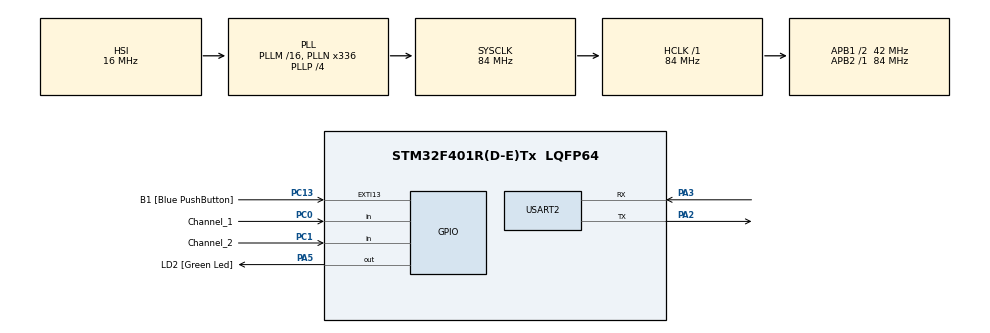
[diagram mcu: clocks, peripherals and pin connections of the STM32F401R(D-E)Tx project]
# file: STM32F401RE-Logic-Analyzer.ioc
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Dma.Request0=USART2_TX
Dma.USART2_TX.0.Direction=DMA_MEMORY_TO_PERIPH
Dma.USART2_TX.0.FIFOMode=DMA_FIFOMODE_DISABLE
Dma.USART2_TX.0.Instance=DMA1_Stream6
Dma.USART2_TX.0.MemDataAlignment=DMA_MDATAALIGN_BYTE
Dma.USART2_TX.0.MemInc=DMA_MINC_ENABLE
Dma.USART2_TX.0.Mode=DMA_NORMAL
Dma.USART2_TX.0.PeriphDataAlignment=DMA_PDATAALIGN_BYTE
Dma.USART2_TX.0.PeriphInc=DMA_PINC_DISABLE
Dma.USART2_TX.0.Priority=DMA_PRIORITY_LOW
Mcu.Family=STM32F4
Mcu.Name=STM32F401R(D-E)Tx
Mcu.Package=LQFP64
NVIC.DMA1_Stream6_IRQn=true\:0\:0\:false\:false\:true\:false\:true\:true
NVIC.PriorityGroup=NVIC_PRIORITYGROUP_4
NVIC.USART2_IRQn=true\:0\:0\:false\:false\:true\:true\:true\:true
PA13.GPIO_Label=TMS
PA13.Mode=Trace_Asynchronous_SW
PA13.Signal=SYS_JTMS-SWDIO
PA14.GPIO_Label=TCK
PA14.Mode=Trace_Asynchronous_SW
PA14.Signal=SYS_JTCK-SWCLK
PA2.Mode=Asynchronous
PA2.Signal=USART2_TX
PA3.Mode=Asynchronous
PA3.Signal=USART2_RX
PA5.GPIO_Label=LD2 [Green Led]
PA5.GPIO_Mode=GPIO_MODE_OUTPUT_PP
PA5.GPIO_PuPd=GPIO_NOPULL
PA5.GPIO_Speed=GPIO_SPEED_FREQ_LOW
PA5.Signal=GPIO_Output
PB3.GPIO_Label=SWO
PB3.Mode=Trace_Asynchronous_SW
PB3.Signal=SYS_JTDO-SWO
PC0.GPIO_Label=Channel_1
PC0.GPIO_PuPd=GPIO_PULLDOWN
PC0.Signal=GPIO_Input
PC1.GPIO_Label=Channel_2
PC1.GPIO_PuPd=GPIO_PULLDOWN
PC1.Signal=GPIO_Input
PC13-ANTI_TAMP.GPIO_Label=B1 [Blue PushButton]
PC13-ANTI_TAMP.GPIO_ModeDefaultEXTI=GPIO_MODE_IT_FALLING
PC13-ANTI_TAMP.GPIO_PuPd=GPIO_NOPULL
PC13-ANTI_TAMP.Signal=GPXTI13
PC14-OSC32_IN.Mode=LSE-External-Oscillator
PC14-OSC32_IN.Signal=RCC_OSC32_IN
PC15-OSC32_OUT.Mode=LSE-External-Oscillator
PC15-OSC32_OUT.Signal=RCC_OSC32_OUT
PH0\ -\ OSC_IN.Mode=HSE-External-Clock-Source
PH0\ -\ OSC_IN.Signal=RCC_OSC_IN
PH1\ -\ OSC_OUT.Mode=HSE-External-Clock-Source
PH1\ -\ OSC_OUT.Signal=RCC_OSC_OUT
ProjectManager.HeapSize=0x200
ProjectManager.StackSize=0x400
ProjectManager.TargetToolchain=STM32CubeIDE
RCC.48MHZClocksFreq_Value=48000000
RCC.AHBFreq_Value=84000000
RCC.APB1CLKDivider=RCC_HCLK_DIV2
RCC.APB1Freq_Value=42000000
RCC.APB1TimFreq_Value=84000000
RCC.APB2Freq_Value=84000000
RCC.APB2TimFreq_Value=84000000
RCC.CortexFreq_Value=84000000
RCC.HCLKFreq_Value=84000000
RCC.HSE_VALUE=8000000
RCC.HSI_VALUE=16000000
RCC.PLLN=336
RCC.PLLP=RCC_PLLP_DIV4
RCC.PLLQ=7
RCC.SYSCLKFreq_VALUE=84000000
RCC.SYSCLKSource=RCC_SYSCLKSOURCE_PLLCLK
RCC.VCOOutputFreq_Value=336000000
USART2.VirtualMode=VM_ASYNC
board=NUCLEO-F401RE

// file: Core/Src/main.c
/* USER CODE BEGIN Header */
/**
  ******************************************************************************
  * @file           : main.c
  * @brief          :
  ******************************************************************************
  */
/* USER CODE END Header */
#include "main.h"

/* USER CODE BEGIN Includes */
#include <stdio.h>
#include <string.h>
/* USER CODE END Includes */

/* USER CODE BEGIN PD */
// Increase buffer size to capture more history per packet
// 50 samples * 2 channels = 100 bytes
#define SAMPLES_PER_PACKET 50
#define BUFFER_SIZE (SAMPLES_PER_PACKET * 2)
/* USER CODE END PD */

UART_HandleTypeDef huart2;
DMA_HandleTypeDef hdma_usart2_tx;

/* USER CODE BEGIN PV */
uint8_t TxData[BUFFER_SIZE];  // Buffer to store GPIO readings
volatile uint8_t SentFlag = 1; // Volatile because it's modified in ISR
/* USER CODE END PV */

void SystemClock_Config(void);
static void MX_GPIO_Init(void);
static void MX_DMA_Init(void);
static void MX_USART2_UART_Init(void);

/* USER CODE BEGIN 0 */

void HAL_UART_TxCpltCallback(UART_HandleTypeDef *huart)
{
    if (huart->Instance == USART2) {
        SentFlag = 1; // Transmission complete, ready for next batch
    }
}

/* USER CODE END 0 */

int main(void)
{

  /* MCU Configuration--------------------------------------------------------*/

  /* Reset of all peripherals, Initializes the Flash interface and the Systick. */
  HAL_Init();

  /* Configure the system clock */
  SystemClock_Config();

  /* Initialize all configured peripherals */
  MX_GPIO_Init();
  MX_DMA_Init();
  MX_USART2_UART_Init();
  /* USER CODE BEGIN 2 */

  // Optional: Send a startup message
  // char test_message[] = "STM32 Logic Analyzer Ready\r\n";
  // HAL_UART_Transmit(&huart2, (uint8_t *)test_message, strlen(test_message), HAL_MAX_DELAY);

  /* USER CODE END 2 */

  /* Infinite loop */
  while (1)
  {

    /* USER CODE BEGIN 3 */

      // 1. Capture Phase: Fill the buffer as fast as possible
      for (int i = 0; i < SAMPLES_PER_PACKET; i++) {
          // OPTIMIZATION: Read the entire Input Data Register (IDR) once.
          // This ensures PC0 and PC1 are sampled at the EXACT same moment.
          uint32_t port_state = GPIOC->IDR;

          // Extract PC0 (Channel 1)
          // We use direct bitwise logic instead of HAL for speed
          TxData[i * 2]     = (port_state & GPIO_PIN_0) ? '1' : '0';

          // Extract PC1 (Channel 2)
          TxData[i * 2 + 1] = (port_state & GPIO_PIN_1) ? '1' : '0';

          // Sampling Delay
          // Remove HAL_Delay for max speed, or add a small delay for controlled sampling.
          // For a Logic Analyzer, you usually want max speed.
          // If 115200 baud is too slow to keep up, add: HAL_Delay(1);
          HAL_Delay(1);
      }

      // 2. Transmission Phase: Send data if previous transfer is done
      if (SentFlag) {
          SentFlag = 0; // Clear flag, wait for interrupt to set it back

          // Visual Indicator: Toggle LED based on the last sample of PC0
          // We moved this outside the capture loop to prevent slowing down sampling
          HAL_GPIO_WritePin(GPIOA, GPIO_PIN_5, (TxData[BUFFER_SIZE-2] == '1') ? GPIO_PIN_SET : GPIO_PIN_RESET);

          // Transmit the entire buffer via DMA
          HAL_UART_Transmit_DMA(&huart2, TxData, BUFFER_SIZE);
      }

      // If SentFlag is still 0, the CPU will just loop back and re-capture
      // fresh data while waiting for UART to finish.
  }
  /* USER CODE END 3 */
}

void SystemClock_Config(void)
{
  RCC_OscInitTypeDef RCC_OscInitStruct = {0};
  RCC_ClkInitTypeDef RCC_ClkInitStruct = {0};

  /** Configure the main internal regulator output voltage
  */
  __HAL_RCC_PWR_CLK_ENABLE();
  __HAL_PWR_VOLTAGESCALING_CONFIG(PWR_REGULATOR_VOLTAGE_SCALE2);

  /** Initializes the RCC Oscillators according to the specified parameters
  * in the RCC_OscInitTypeDef structure.
  */
  RCC_OscInitStruct.OscillatorType = RCC_OSCILLATORTYPE_HSI;
  RCC_OscInitStruct.HSIState = RCC_HSI_ON;
  RCC_OscInitStruct.HSICalibrationValue = RCC_HSICALIBRATION_DEFAULT;
  RCC_OscInitStruct.PLL.PLLState = RCC_PLL_ON;
  RCC_OscInitStruct.PLL.PLLSource = RCC_PLLSOURCE_HSI;
  RCC_OscInitStruct.PLL.PLLM = 16;
  RCC_OscInitStruct.PLL.PLLN = 336;
  RCC_OscInitStruct.PLL.PLLP = RCC_PLLP_DIV4;
  RCC_OscInitStruct.PLL.PLLQ = 7;
  if (HAL_RCC_OscConfig(&RCC_OscInitStruct) != HAL_OK)
  {
    Error_Handler();
  }

  /** Initializes the CPU, AHB and APB buses clocks
  */
  RCC_ClkInitStruct.ClockType = RCC_CLOCKTYPE_HCLK|RCC_CLOCKTYPE_SYSCLK
                              |RCC_CLOCKTYPE_PCLK1|RCC_CLOCKTYPE_PCLK2;
  RCC_ClkInitStruct.SYSCLKSource = RCC_SYSCLKSOURCE_PLLCLK;
  RCC_ClkInitStruct.AHBCLKDivider = RCC_SYSCLK_DIV1;
  RCC_ClkInitStruct.APB1CLKDivider = RCC_HCLK_DIV2;
  RCC_ClkInitStruct.APB2CLKDivider = RCC_HCLK_DIV1;

  if (HAL_RCC_ClockConfig(&RCC_ClkInitStruct, FLASH_LATENCY_2) != HAL_OK)
  {
    Error_Handler();
  }
}

static void MX_USART2_UART_Init(void)
{

  huart2.Instance = USART2;
  huart2.Init.BaudRate = 115200; // RECOMMENDATION: Increase to 460800 or 921600 for faster capture
  huart2.Init.WordLength = UART_WORDLENGTH_8B;
  huart2.Init.StopBits = UART_STOPBITS_1;
  huart2.Init.Parity = UART_PARITY_NONE;
  huart2.Init.Mode = UART_MODE_TX_RX;
  huart2.Init.HwFlowCtl = UART_HWCONTROL_NONE;
  huart2.Init.OverSampling = UART_OVERSAMPLING_16;
  if (HAL_UART_Init(&huart2) != HAL_OK)
  {
    Error_Handler();
  }

}

static void MX_DMA_Init(void)
{

  /* DMA controller clock enable */
  __HAL_RCC_DMA1_CLK_ENABLE();

  /* DMA interrupt init */
  /* DMA1_Stream6_IRQn interrupt configuration */
  HAL_NVIC_SetPriority(DMA1_Stream6_IRQn, 0, 0);
  HAL_NVIC_EnableIRQ(DMA1_Stream6_IRQn);

}

static void MX_GPIO_Init(void)
{
  GPIO_InitTypeDef GPIO_InitStruct = {0};

  /* GPIO Ports Clock Enable */
  __HAL_RCC_GPIOC_CLK_ENABLE();
  __HAL_RCC_GPIOH_CLK_ENABLE();
  __HAL_RCC_GPIOA_CLK_ENABLE();
  __HAL_RCC_GPIOB_CLK_ENABLE();

  /*Configure GPIO pin Output Level */
  HAL_GPIO_WritePin(LD2_GPIO_Port, LD2_Pin, GPIO_PIN_RESET);

  /*Configure GPIO pin : B1_Pin */
  GPIO_InitStruct.Pin = B1_Pin;
  GPIO_InitStruct.Mode = GPIO_MODE_IT_FALLING;
  GPIO_InitStruct.Pull = GPIO_NOPULL;
  HAL_GPIO_Init(B1_GPIO_Port, &GPIO_InitStruct);

  /*Configure GPIO pins : Channel_1_Pin Channel_2_Pin */
  // Optimized for Logic Analyzer: No Pull to detect floating, HIGH speed
  GPIO_InitStruct.Pin = Channel_1_Pin|Channel_2_Pin;
  GPIO_InitStruct.Mode = GPIO_MODE_INPUT;
  GPIO_InitStruct.Pull = GPIO_NOPULL;
  GPIO_InitStruct.Speed = GPIO_SPEED_FREQ_VERY_HIGH; // Set to HIGH speed for better signal integrity
  HAL_GPIO_Init(GPIOC, &GPIO_InitStruct);

  /*Configure GPIO pin : LD2_Pin */
  GPIO_InitStruct.Pin = LD2_Pin;
  GPIO_InitStruct.Mode = GPIO_MODE_OUTPUT_PP;
  GPIO_InitStruct.Pull = GPIO_NOPULL;
  GPIO_InitStruct.Speed = GPIO_SPEED_FREQ_LOW;
  HAL_GPIO_Init(LD2_GPIO_Port, &GPIO_InitStruct);

}

void Error_Handler(void)
{
  __disable_irq();
  while (1)
  {
  }
}
